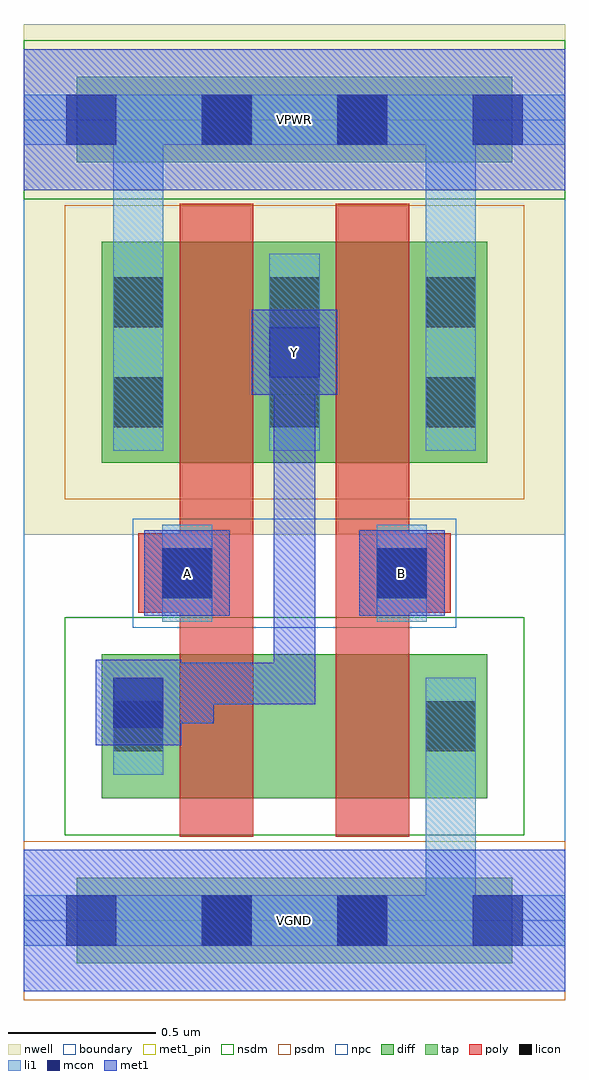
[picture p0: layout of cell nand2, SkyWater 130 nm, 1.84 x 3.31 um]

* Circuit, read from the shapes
.subckt nand2 A B VGND VPWR Y
XM1 n1 A Y VGND sky130_fd_pr__nfet_01v8 w=0.49 l=0.25
XM2 VGND B n1 VGND sky130_fd_pr__nfet_01v8 w=0.49 l=0.25
XM3 Y A VPWR VPWR sky130_fd_pr__pfet_01v8 w=0.75 l=0.25
XM4 VPWR B Y VPWR sky130_fd_pr__pfet_01v8 w=0.75 l=0.25
.ends

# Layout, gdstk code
import gdstk
lib = gdstk.Library(unit=1e-6, precision=1e-09)
def R(c, l, rs):  # rectangles x0, y0, x1, y1
    for r in rs: c.add(gdstk.rectangle(r[:2], r[2:], *l))
def A(c, l, x, y, w, h, nx, ny, dx, dy):  # array of equal rectangles
    R(c, l, [(x+i*dx, y+j*dy, x+i*dx+w, y+j*dy+h) for i in range(nx) for j in range(ny)])
nwell = (64, 20)
diff = (65, 20)
tap = (65, 44)
poly = (66, 20)
licon = (66, 44)
li1 = (67, 20)
mcon = (67, 44)
met1_pin = (68, 16)
met1 = (68, 20)
nsdm = (93, 44)
psdm = (94, 20)
npc = (95, 20)
boundary = (235, 4)

nand2 = lib.new_cell('nand2')
R(nand2, nwell, [(0,1.31,1.84,3.045)])
R(nand2, diff, [(0.265,0.415,1.575,0.905), (0.265,1.555,1.575,2.305)])
R(nand2, tap, [(0.18,-0.145,1.66,0.145), (0.18,2.575,1.66,2.865)])
R(nand2, poly, [(0.53,0.285,0.78,2.435), (1.06,0.285,1.31,2.435), (0.39,1.045,0.72,1.315), (1.12,1.045,1.45,1.315)])
A(nand2, licon, 0.305, 1.675, 0.17, 0.17, 3, 2, 0.53, 0.34)
R(nand2, licon, [(0.605,-0.085,0.775,0.085), (1.065,-0.085,1.235,0.085), (0.305,0.575,0.475,0.745), (1.365,0.575,1.535,0.745), (0.47,1.095,0.64,1.265), (1.2,1.095,1.37,1.265), (0.605,2.635,0.775,2.805), (1.065,2.635,1.235,2.805)])
A(nand2, li1, 0.305, 1.595, 0.17, 0.67, 3, 1, 0.53, 0)
R(nand2, li1, [(0,-0.085,1.84,0.085), (1.365,-0.085,1.535,0.825), (0.305,0.495,0.475,0.825), (1.365,0.495,1.535,0.825), (0.47,1.015,0.64,1.345), (1.2,1.015,1.37,1.345), (0.305,1.595,0.475,2.805), (1.365,1.595,1.535,2.805), (0,2.635,1.84,2.805)])
A(nand2, mcon, 0.145, -0.085, 0.17, 0.17, 4, 2, 0.46, 2.72)
R(nand2, mcon, [(0.305,0.655,0.475,0.825), (0.47,1.095,0.64,1.265), (1.2,1.095,1.37,1.265), (0.835,1.845,1.005,2.015)])
R(nand2, met1_pin, [(0,-0.24,1.84,0.24), (0.41,1.035,0.7,1.325), (1.14,1.035,1.43,1.325), (0.775,1.785,1.065,2.075), (0,2.48,1.84,2.96)])
R(nand2, met1, [(0,-0.24,1.84,0.24), (0.245,0.595,0.535,0.885), (0.32,0.67,0.645,0.81), (0.505,0.67,0.645,0.875), (0.505,0.735,0.99,0.875), (0.85,0.735,0.99,2.025), (0.41,1.035,0.7,1.325), (1.14,1.035,1.43,1.325), (0.775,1.785,1.065,2.075), (0.85,1.885,0.99,2.025), (0,2.48,1.84,2.96)])
R(nand2, nsdm, [(0.14,0.29,1.7,1.03), (0,2.45,1.84,2.99)])
R(nand2, psdm, [(0,-0.27,1.84,0.27), (0.14,1.43,1.7,2.43)])
R(nand2, npc, [(0.37,0.995,1.47,1.365)])
R(nand2, boundary, [(0,0,1.84,2.72)])
nand2.add(gdstk.Label('A', (0.555,1.18), layer=68, texttype=5))
nand2.add(gdstk.Label('B', (1.285,1.18), layer=68, texttype=5))
nand2.add(gdstk.Label('Y', (0.92,1.93), layer=68, texttype=5))
nand2.add(gdstk.Label('VPWR', (0.92,2.72), layer=68, texttype=5))
nand2.add(gdstk.Label('VGND', (0.92,0), layer=68, texttype=5))
nand2.add(gdstk.Label('A', (0.555,1.18), layer=68, texttype=16))
nand2.add(gdstk.Label('B', (1.285,1.18), layer=68, texttype=16))
nand2.add(gdstk.Label('Y', (0.92,1.93), layer=68, texttype=16))
nand2.add(gdstk.Label('VPWR', (0.92,2.72), layer=68, texttype=16))
nand2.add(gdstk.Label('VGND', (0.92,0), layer=68, texttype=16))

lib.write_gds('nand2.gds')
